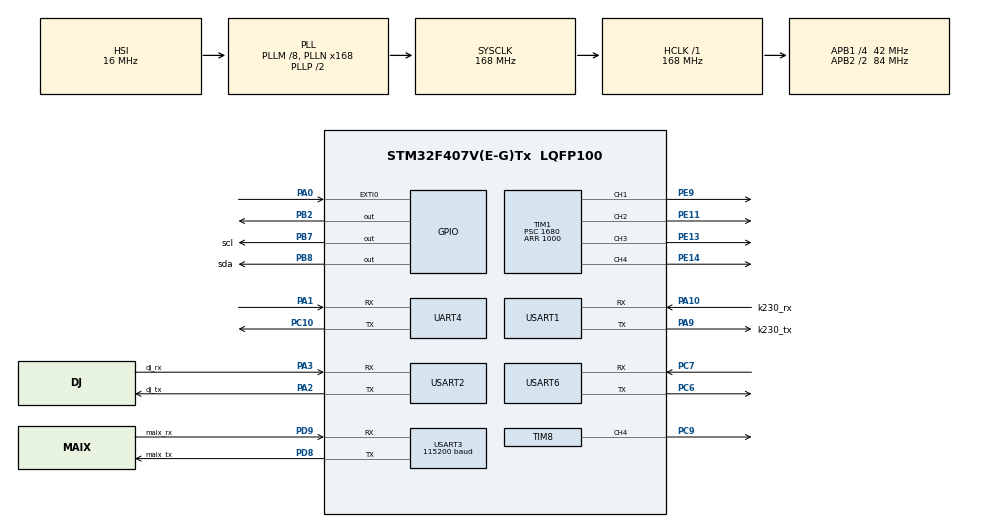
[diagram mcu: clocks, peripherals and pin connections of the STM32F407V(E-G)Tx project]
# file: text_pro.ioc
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Dma.Request0=USART3_RX
Dma.Request1=USART3_TX
Dma.Request2=USART1_RX
Dma.Request3=USART1_TX
Dma.Request4=USART2_RX
Dma.Request5=USART2_TX
Dma.Request6=USART6_RX
Dma.Request7=USART6_TX
Dma.USART1_RX.2.Direction=DMA_PERIPH_TO_MEMORY
Dma.USART1_RX.2.FIFOMode=DMA_FIFOMODE_DISABLE
Dma.USART1_RX.2.Instance=DMA2_Stream2
Dma.USART1_RX.2.MemDataAlignment=DMA_MDATAALIGN_BYTE
Dma.USART1_RX.2.MemInc=DMA_MINC_ENABLE
Dma.USART1_RX.2.Mode=DMA_NORMAL
Dma.USART1_RX.2.PeriphDataAlignment=DMA_PDATAALIGN_BYTE
Dma.USART1_RX.2.PeriphInc=DMA_PINC_DISABLE
Dma.USART1_RX.2.Priority=DMA_PRIORITY_MEDIUM
Dma.USART1_TX.3.Direction=DMA_MEMORY_TO_PERIPH
Dma.USART1_TX.3.FIFOMode=DMA_FIFOMODE_DISABLE
Dma.USART1_TX.3.Instance=DMA2_Stream7
Dma.USART1_TX.3.MemDataAlignment=DMA_MDATAALIGN_BYTE
Dma.USART1_TX.3.MemInc=DMA_MINC_ENABLE
Dma.USART1_TX.3.Mode=DMA_NORMAL
Dma.USART1_TX.3.PeriphDataAlignment=DMA_PDATAALIGN_BYTE
Dma.USART1_TX.3.PeriphInc=DMA_PINC_DISABLE
Dma.USART1_TX.3.Priority=DMA_PRIORITY_MEDIUM
Dma.USART2_RX.4.Direction=DMA_PERIPH_TO_MEMORY
Dma.USART2_RX.4.FIFOMode=DMA_FIFOMODE_DISABLE
Dma.USART2_RX.4.Instance=DMA1_Stream5
Dma.USART2_RX.4.MemDataAlignment=DMA_MDATAALIGN_BYTE
Dma.USART2_RX.4.MemInc=DMA_MINC_ENABLE
Dma.USART2_RX.4.Mode=DMA_NORMAL
Dma.USART2_RX.4.PeriphDataAlignment=DMA_PDATAALIGN_BYTE
Dma.USART2_RX.4.PeriphInc=DMA_PINC_DISABLE
Dma.USART2_RX.4.Priority=DMA_PRIORITY_MEDIUM
Dma.USART2_TX.5.Direction=DMA_MEMORY_TO_PERIPH
Dma.USART2_TX.5.FIFOMode=DMA_FIFOMODE_DISABLE
Dma.USART2_TX.5.Instance=DMA1_Stream6
Dma.USART2_TX.5.MemDataAlignment=DMA_MDATAALIGN_BYTE
Dma.USART2_TX.5.MemInc=DMA_MINC_ENABLE
Dma.USART2_TX.5.Mode=DMA_NORMAL
Dma.USART2_TX.5.PeriphDataAlignment=DMA_PDATAALIGN_BYTE
Dma.USART2_TX.5.PeriphInc=DMA_PINC_DISABLE
Dma.USART2_TX.5.Priority=DMA_PRIORITY_MEDIUM
Dma.USART3_RX.0.Direction=DMA_PERIPH_TO_MEMORY
Dma.USART3_RX.0.FIFOMode=DMA_FIFOMODE_DISABLE
Dma.USART3_RX.0.Instance=DMA1_Stream1
Dma.USART3_RX.0.MemDataAlignment=DMA_MDATAALIGN_BYTE
Dma.USART3_RX.0.MemInc=DMA_MINC_ENABLE
Dma.USART3_RX.0.Mode=DMA_NORMAL
Dma.USART3_RX.0.PeriphDataAlignment=DMA_PDATAALIGN_BYTE
Dma.USART3_RX.0.PeriphInc=DMA_PINC_DISABLE
Dma.USART3_RX.0.Priority=DMA_PRIORITY_MEDIUM
Dma.USART3_TX.1.Direction=DMA_MEMORY_TO_PERIPH
Dma.USART3_TX.1.FIFOMode=DMA_FIFOMODE_DISABLE
Dma.USART3_TX.1.Instance=DMA1_Stream3
Dma.USART3_TX.1.MemDataAlignment=DMA_MDATAALIGN_BYTE
Dma.USART3_TX.1.MemInc=DMA_MINC_ENABLE
Dma.USART3_TX.1.Mode=DMA_NORMAL
Dma.USART3_TX.1.PeriphDataAlignment=DMA_PDATAALIGN_BYTE
Dma.USART3_TX.1.PeriphInc=DMA_PINC_DISABLE
Dma.USART3_TX.1.Priority=DMA_PRIORITY_MEDIUM
Dma.USART6_RX.6.Direction=DMA_PERIPH_TO_MEMORY
Dma.USART6_RX.6.FIFOMode=DMA_FIFOMODE_DISABLE
Dma.USART6_RX.6.Instance=DMA2_Stream1
Dma.USART6_RX.6.MemDataAlignment=DMA_MDATAALIGN_BYTE
Dma.USART6_RX.6.MemInc=DMA_MINC_ENABLE
Dma.USART6_RX.6.Mode=DMA_NORMAL
Dma.USART6_RX.6.PeriphDataAlignment=DMA_PDATAALIGN_BYTE
Dma.USART6_RX.6.PeriphInc=DMA_PINC_DISABLE
Dma.USART6_RX.6.Priority=DMA_PRIORITY_MEDIUM
Dma.USART6_TX.7.Direction=DMA_MEMORY_TO_PERIPH
Dma.USART6_TX.7.FIFOMode=DMA_FIFOMODE_DISABLE
Dma.USART6_TX.7.Instance=DMA2_Stream6
Dma.USART6_TX.7.MemDataAlignment=DMA_MDATAALIGN_BYTE
Dma.USART6_TX.7.MemInc=DMA_MINC_ENABLE
Dma.USART6_TX.7.Mode=DMA_NORMAL
Dma.USART6_TX.7.PeriphDataAlignment=DMA_PDATAALIGN_BYTE
Dma.USART6_TX.7.PeriphInc=DMA_PINC_DISABLE
Dma.USART6_TX.7.Priority=DMA_PRIORITY_MEDIUM
Mcu.Family=STM32F4
Mcu.Name=STM32F407V(E-G)Tx
Mcu.Package=LQFP100
NVIC.DMA1_Stream1_IRQn=true\:1\:0\:true\:false\:true\:true\:true\:true
NVIC.DMA1_Stream3_IRQn=true\:1\:0\:true\:false\:true\:true\:true\:true
NVIC.DMA1_Stream5_IRQn=true\:0\:0\:true\:false\:true\:true\:true\:true
NVIC.DMA1_Stream6_IRQn=true\:0\:0\:true\:false\:true\:true\:true\:true
NVIC.DMA2_Stream1_IRQn=true\:2\:0\:true\:false\:true\:true\:true\:true
NVIC.DMA2_Stream2_IRQn=true\:0\:0\:false\:false\:true\:true\:true\:true
NVIC.DMA2_Stream6_IRQn=true\:2\:0\:true\:false\:true\:true\:true\:true
NVIC.DMA2_Stream7_IRQn=true\:0\:0\:false\:false\:true\:true\:true\:true
NVIC.EXTI0_IRQn=true\:0\:0\:false\:false\:true\:true\:true\:true
NVIC.PriorityGroup=NVIC_PRIORITYGROUP_4
NVIC.TIM3_IRQn=true\:4\:0\:true\:false\:true\:true\:true\:true
NVIC.UART4_IRQn=true\:3\:0\:true\:false\:true\:true\:true\:true
NVIC.USART1_IRQn=true\:0\:0\:true\:false\:true\:true\:true\:true
NVIC.USART2_IRQn=true\:0\:0\:true\:false\:true\:true\:true\:true
NVIC.USART3_IRQn=true\:0\:0\:true\:false\:true\:true\:true\:true
NVIC.USART6_IRQn=true\:2\:0\:true\:false\:true\:true\:true\:true
PA0-WKUP.GPIO_ModeDefaultEXTI=GPIO_MODE_IT_RISING
PA0-WKUP.Signal=GPXTI0
PA1.Mode=Asynchronous
PA1.Signal=UART4_RX
PA10.GPIO_Label=k230_rx
PA10.Mode=Asynchronous
PA10.Signal=USART1_RX
PA13.Mode=Serial_Wire
PA13.Signal=SYS_JTMS-SWDIO
PA14.Mode=Serial_Wire
PA14.Signal=SYS_JTCK-SWCLK
PA2.GPIO_Label=dj_tx
PA2.Mode=Asynchronous
PA2.Signal=USART2_TX
PA3.GPIO_Label=dj_rx
PA3.Mode=Asynchronous
PA3.Signal=USART2_RX
PA9.GPIO_Label=k230_tx
PA9.Mode=Asynchronous
PA9.Signal=USART1_TX
PB2.GPIO_Speed=GPIO_SPEED_FREQ_VERY_HIGH
PB2.Signal=GPIO_Output
PB7.GPIO_Label=scl
PB7.GPIO_ModeDefaultOutputPP=GPIO_MODE_OUTPUT_OD
PB7.GPIO_PuPd=GPIO_NOPULL
PB7.GPIO_Speed=GPIO_SPEED_FREQ_HIGH
PB7.PinState=GPIO_PIN_SET
PB7.Signal=GPIO_Output
PB8.GPIO_Label=sda
PB8.GPIO_ModeDefaultOutputPP=GPIO_MODE_OUTPUT_OD
PB8.GPIO_PuPd=GPIO_NOPULL
PB8.GPIO_Speed=GPIO_SPEED_FREQ_HIGH
PB8.PinState=GPIO_PIN_SET
PB8.Signal=GPIO_Output
PC10.Mode=Asynchronous
PC10.Signal=UART4_TX
PC14-OSC32_IN.Mode=LSE-External-Oscillator
PC14-OSC32_IN.Signal=RCC_OSC32_IN
PC15-OSC32_OUT.Mode=LSE-External-Oscillator
PC15-OSC32_OUT.Signal=RCC_OSC32_OUT
PC6.Mode=Asynchronous
PC6.Signal=USART6_TX
PC7.Mode=Asynchronous
PC7.Signal=USART6_RX
PC9.Signal=S_TIM8_CH4
PD8.GPIO_Label=maix_tx
PD8.GPIO_PuPd=GPIO_PULLUP
PD8.GPIO_Speed=GPIO_SPEED_FREQ_VERY_HIGH
PD8.Mode=Asynchronous
PD8.Signal=USART3_TX
PD9.GPIO_Label=maix_rx
PD9.GPIO_PuPd=GPIO_PULLUP
PD9.GPIO_Speed=GPIO_SPEED_FREQ_VERY_HIGH
PD9.Mode=Asynchronous
PD9.Signal=USART3_RX
PE11.GPIO_ModeDefaultPP=GPIO_MODE_AF_PP
PE11.GPIO_Speed=GPIO_SPEED_FREQ_VERY_HIGH
PE11.Signal=S_TIM1_CH2
PE13.GPIO_Speed=GPIO_SPEED_FREQ_VERY_HIGH
PE13.Signal=S_TIM1_CH3
PE14.GPIO_Speed=GPIO_SPEED_FREQ_VERY_HIGH
PE14.Signal=S_TIM1_CH4
PE9.GPIO_Speed=GPIO_SPEED_FREQ_VERY_HIGH
PE9.Signal=S_TIM1_CH1
PH0-OSC_IN.Mode=HSE-External-Oscillator
PH0-OSC_IN.Signal=RCC_OSC_IN
PH1-OSC_OUT.Mode=HSE-External-Oscillator
PH1-OSC_OUT.Signal=RCC_OSC_OUT
ProjectManager.HeapSize=0x200
ProjectManager.StackSize=0x400
ProjectManager.TargetToolchain=MDK-ARM V5.32
RCC.48MHZClocksFreq_Value=84000000
RCC.AHBFreq_Value=168000000
RCC.APB1CLKDivider=RCC_HCLK_DIV4
RCC.APB1Freq_Value=42000000
RCC.APB1TimFreq_Value=84000000
RCC.APB2CLKDivider=RCC_HCLK_DIV2
RCC.APB2Freq_Value=84000000
RCC.APB2TimFreq_Value=168000000
RCC.CortexFreq_Value=168000000
RCC.HCLKFreq_Value=168000000
RCC.HSE_VALUE=25000000
RCC.HSI_VALUE=16000000
RCC.PLLM=8
RCC.PLLN=168
RCC.SYSCLKFreq_VALUE=168000000
RCC.SYSCLKSource=RCC_SYSCLKSOURCE_PLLCLK
RCC.VCOOutputFreq_Value=336000000
SH.S_TIM1_CH1.0=TIM1_CH1,PWM Generation1 CH1
SH.S_TIM1_CH2.0=TIM1_CH2,PWM Generation2 CH2
SH.S_TIM1_CH3.0=TIM1_CH3,PWM Generation3 CH3
SH.S_TIM1_CH4.0=TIM1_CH4,PWM Generation4 CH4
SH.S_TIM8_CH4.0=TIM8_CH4,PWM Generation4 CH4
TIM1.Channel-PWM\ Generation1\ CH1=TIM_CHANNEL_1
TIM1.Channel-PWM\ Generation2\ CH2=TIM_CHANNEL_2
TIM1.Channel-PWM\ Generation3\ CH3=TIM_CHANNEL_3
TIM1.Channel-PWM\ Generation4\ CH4=TIM_CHANNEL_4
TIM1.Period=1000
TIM1.Prescaler=1680
TIM3.AutoReloadPreload=TIM_AUTORELOAD_PRELOAD_ENABLE
TIM3.Period=10000
TIM3.Prescaler=167
TIM4.AutoReloadPreload=TIM_AUTORELOAD_PRELOAD_ENABLE
TIM4.Period=30000
TIM4.Prescaler=167
TIM8.Channel-PWM\ Generation4\ CH4=TIM_CHANNEL_4
TIM8.Period=1000
TIM8.Prescaler=1680
UART4.VirtualMode=Asynchronous
USART1.VirtualMode=VM_ASYNC
USART2.VirtualMode=VM_ASYNC
USART3.BaudRate=115200
USART3.VirtualMode=VM_ASYNC
USART6.VirtualMode=VM_ASYNC
VP_TIM1_VS_ClockSourceINT.Mode=Internal
VP_TIM3_VS_ClockSourceINT.Mode=Internal
VP_TIM4_VS_ClockSourceINT.Mode=Internal
VP_TIM8_VS_ClockSourceINT.Mode=Internal
board=custom

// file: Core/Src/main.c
/* USER CODE BEGIN Header */
/**
  ******************************************************************************
  * @file           : main.c
  * @brief          : Main program body
  ******************************************************************************
  * @attention
  *
  * Copyright (c) 2024 STMicroelectronics.
  * All rights reserved.
  *
  * This software is licensed under terms that can be found in the LICENSE file
  * in the root directory of this software component.
  * If no LICENSE file comes with this software, it is provided AS-IS.
  *
  ******************************************************************************
  */
/* USER CODE END Header */
#include "main.h"
#include "dma.h"
#include "tim.h"
#include "usart.h"
#include "gpio.h"

/* USER CODE BEGIN Includes */
#include "string.h"
#include "Key.h"

/* USER CODE END Includes */

/* USER CODE BEGIN PTD */
uint8_t RXDATA=0,RXDATA1=0,rx[11]={0},cq[5]={0xFF,0xAA,0x76,0x00,0x00},cntt=0,test_data,test_cnt=0,test_num[8]=" ",cq1[5]={0xFF,0xAA,0x69,0x88,0xB5},cq3[5]={0xFF,0xAA,0x00,0x00,0x00};
double yaw=0;
int Flag = 0, ffff = 0;
int16_t Speed1=0,Speed2=0,Speed3=0,Speed4=0;
int16_t Base_speed1=0,Base_speed2=0,Base_speed3=0,Base_speed4=0;
/* USER CODE END PTD */

/* USER CODE BEGIN PD */

uint8_t unlock_register[] = {0xFF, 0xAA, 0x69, 0x88, 0xB5};
uint8_t reset_z_axis[] = {0xFF, 0xAA, 0x76, 0x00, 0x00};
uint8_t set_output_200Hz[] = {0xFF, 0xAA, 0x03, 0x0B, 0x00};
uint8_t set_baudrate_115200[] = {0xFF, 0xAA, 0x04, 0x06, 0x00};
uint8_t save_settings[] = {0xFF, 0xAA, 0x00, 0x00, 0x00};
uint8_t restart_device[] = {0xFF, 0xAA, 0x00, 0xFF, 0x00};

/* USER CODE END PD */

/* USER CODE BEGIN PM */
uint8_t Rx_String[100];
uint8_t Rx_Flag=0;
uint8_t Rx_buff,rx_buff = 0;
int a = 0,b = 0;
float x = 0,y = 0;
double xielv = 0;
__IO bool rxFrameFlag = 0;
__IO uint8_t dj_rxCmd[128];
uint8_t maix_rxCmd[128];
uint8_t k230_rxCmd[128];
uint8_t BUFF[128];
uint8_t xz[128];
__IO uint8_t rxCount = 8;
int my_tmp = 0;
/* USER CODE END PM */

void SystemClock_Config(void);
/* USER CODE BEGIN PFP */
void HAL_GPIO_EXTI_Callback(uint16_t GPIO_Pin)
{
	if(GPIO_Pin==GPIO_PIN_0)
	{
		HAL_GPIO_WritePin(GPIOB,GPIO_PIN_2,GPIO_PIN_SET);
    ffff = 1;
	}

}

void HAL_UART_RxCpltCallback(UART_HandleTypeDef *huart)
{
  if(huart == &huart1)
  {
		if(Rx_String[Rx_Flag-1] == 0x0A)
		{
			//HAL_UART_Transmit(&huart1, (uint8_t *)&Rx_String, Rx_Flag,0xFFFF);
			//while(HAL_UART_GetState(&huart1) == HAL_UART_STATE_BUSY_TX);
      sscanf((const char * )Rx_String, "%d+%d", &a,&b);
			memset(Rx_String,0x00,sizeof(Rx_buff));
			Rx_Flag = 0;
		}
    HAL_UART_Receive_IT(&huart1, (uint8_t *)&Rx_buff, 1);
  }

  if(huart->Instance==UART4)
  {
    static uint8_t i=0;
    rx[i]=RXDATA;
    if(rx[0]==0x55)
    {

      i+=1;
      if(i==11)
      {
        if(rx[1]==0x53)
        {
          if(rx[10]==(rx[0]+rx[1]+rx[2]+rx[3]+rx[4]+rx[5]+rx[6]+rx[7]+rx[8]+rx[9])%256)
          {
            yaw=(float)((short)((short)rx[7]*256+rx[6]))/32768*180;
            if(((int)(yaw*1000))%10>=5)
            {
              yaw=(double)((int)(yaw*100+1))/100;
            }
            else
            {
              yaw=(double)((int)(yaw*100))/100;
            }

          }
        }
        i=0;
      }
    }

    HAL_UART_Receive_IT(&huart4,&RXDATA,1);
  }
}

void HAL_UARTEx_RxEventCallback(UART_HandleTypeDef *huart, uint16_t Size)
{
  if(huart->Instance==USART1)
	{
    if(BUFF[0] != 'K')
		{

      memcpy(k230_rxCmd, BUFF, sizeof(BUFF));
      sscanf((const char * )k230_rxCmd, "%d+%d", &a,&b);
      memset(BUFF, 0x00, sizeof(BUFF));
      HAL_UARTEx_ReceiveToIdle_DMA(&huart1,(uint8_t*)BUFF,128);
      //__HAL_DMA_DISABLE_IT(&hdma_usart1_rx,DMA_IT_HT);
		}
	}

	if(huart->Instance==USART2)
	{
    rxFrameFlag = 1;
		HAL_UARTEx_ReceiveToIdle_DMA(&huart2,(uint8_t*)dj_rxCmd,128);
	}

  if(huart->Instance==USART6)
	{
    rxFrameFlag = 1;
		HAL_UARTEx_ReceiveToIdle_DMA(&huart6,(uint8_t*)xz,128);
	}

  if(huart->Instance==USART3)
	{

    if(maix_rxCmd[0] == 'M')
		{
      sscanf((const char * )&maix_rxCmd[1], "%f+%f", &x,&y);
      // x = (int)xx;
      // y = (int)yy;
      HAL_UARTEx_ReceiveToIdle_DMA(&huart3,(uint8_t*)maix_rxCmd,128);
		}
	}
}
/* USER CODE END PFP */

/* USER CODE BEGIN 0 */

void TBQD()
{
 Emm_V5_Synchronous_motion(0);
while(rxFrameFlag == false); rxFrameFlag = false;
}

void Go(int dir, int vel, int acc)
{
  HAL_TIM_Base_Stop_IT(&htim3);
  if(dir == 1)
  {
    Emm_V5_Vel_Control(1,1,vel,acc,1);
    while(rxFrameFlag == false); rxFrameFlag = false;
    Emm_V5_Vel_Control(3,1,vel,acc,1);
    while(rxFrameFlag == false); rxFrameFlag = false;
    Emm_V5_Vel_Control(2,0,vel,acc,1);
    while(rxFrameFlag == false); rxFrameFlag = false;
    Emm_V5_Vel_Control(4,0,vel,acc,1);
    while(rxFrameFlag == false); rxFrameFlag = false;
    TBQD();
    delay_ms(300);
  }
  if(dir == 0)
  {
    Emm_V5_Vel_Control(1,0,vel,acc,1);
    while(rxFrameFlag == false); rxFrameFlag = false;
    Emm_V5_Vel_Control(3,0,vel,acc,1);
    while(rxFrameFlag == false); rxFrameFlag = false;
    Emm_V5_Vel_Control(2,1,vel,acc,1);
    while(rxFrameFlag == false); rxFrameFlag = false;
    Emm_V5_Vel_Control(4,1,vel,acc,1);
    while(rxFrameFlag == false); rxFrameFlag = false;
    TBQD();
    delay_ms(300);
  }
  __HAL_TIM_CLEAR_IT(&htim3, TIM_IT_UPDATE);
  HAL_TIM_Base_Start_IT(&htim3);
}

void Stop(int acc)
{
  HAL_TIM_Base_Stop_IT(&htim3);
  Emm_V5_Vel_Control(1,1,0,acc,1);
  while(rxFrameFlag == false); rxFrameFlag = false;
  Emm_V5_Vel_Control(3,1,0,acc,1);
  while(rxFrameFlag == false); rxFrameFlag = false;
  Emm_V5_Vel_Control(2,0,0,acc,1);
  while(rxFrameFlag == false); rxFrameFlag = false;
  Emm_V5_Vel_Control(4,0,0,acc,1);
  while(rxFrameFlag == false); rxFrameFlag = false;
  TBQD();
  delay_ms(700);
  __HAL_TIM_CLEAR_IT(&htim3, TIM_IT_UPDATE);
  HAL_TIM_Base_Start_IT(&htim3);
}

void Stop1(int acc)
{
  __HAL_TIM_CLEAR_IT(&htim3, TIM_IT_UPDATE);
  HAL_TIM_Base_Stop_IT(&htim3);
  Emm_V5_Vel_Control(1,1,0,acc,1);
  while(rxFrameFlag == false); rxFrameFlag = false;
  Emm_V5_Vel_Control(3,1,0,acc,1);
  while(rxFrameFlag == false); rxFrameFlag = false;
  Emm_V5_Vel_Control(2,0,0,acc,1);
  while(rxFrameFlag == false); rxFrameFlag = false;
  Emm_V5_Vel_Control(4,0,0,acc,1);
  while(rxFrameFlag == false); rxFrameFlag = false;
  TBQD();

}

void Set_Speed(uint8_t adr,int16_t speed)
{
  if(adr%2!=0)
  {
     if(speed>=0)
    {
      Emm_V5_Vel_Control(adr,1,speed,0,0);
      while(rxFrameFlag == false); rxFrameFlag = false;
    }
    else if(speed<0)
    {
      Emm_V5_Vel_Control(adr,0,-speed,0,0);
      while(rxFrameFlag == false); rxFrameFlag = false;
    }
  }
  else if(adr%2==0)
  {
     if(speed>=0)
    {
      Emm_V5_Vel_Control(adr,0,speed,0,0);
      while(rxFrameFlag == false); rxFrameFlag = false;
    }
    else if(speed<0)
    {
      Emm_V5_Vel_Control(adr,1,-speed,0,0);
      while(rxFrameFlag == false); rxFrameFlag = false;
    }
  }

  //delay_ms(10);
}

int i = 0;
int cmd[3] = {0};
int find_x(int x1, int v, int err, int xzb)
{
    int tmp ;
    tmp = x1;

    if(i > 2)
    {
        cmd[0] = cmd[1];
        cmd[1] = cmd[2];
        cmd[2] = tmp;
        tmp = (cmd[0] + cmd[1] + cmd[2])/3 ;
    }
    else
    {

        cmd[i] = tmp;
        tmp = (cmd[0] + cmd[1] + cmd[2]) / (i + 1);
    }
    i++;
    // OLED_ShowNum_double(0, 0,  tmp, &font12x12, OLED_COLOR_NORMAL);
    // OLED_ShowFrame();
    tmp = tmp - 159;
    //delay_ms(5);
    if (tmp < err && tmp > -err)
    {
        /* code */
      Base_speed1=Base_speed4=0;
      Base_speed2=Base_speed3=0;
      delay_ms(200);
      i = 0;
      memset(cmd,0,sizeof(cmd));
      return 1;
    }

    else if (tmp >= err)
    {
      Base_speed1=Base_speed4=-v;
      Base_speed2=Base_speed3=-v;

    }
    else if (tmp <= -err)
    {
     Base_speed1=Base_speed4=v;
     Base_speed2=Base_speed3=v;
    }

    return 0;
}

int find_y(int y1, int v, int err, int yzb)
{
    int tmp = 0;
    tmp = y1;

    if(i > 2)
    {
        cmd[0] = cmd[1];
        cmd[1] = cmd[2];
        cmd[2] = tmp;
        tmp = (cmd[0] + cmd[1] + cmd[2])/3 ;
    }
    else
    {
        cmd[i] = tmp;
        tmp = (cmd[0] + cmd[1] + cmd[2]) / (i + 1);
    }
    i++;
    // OLED_ShowNum_double(0, 20,  tmp, &font12x12, OLED_COLOR_NORMAL);
    // OLED_ShowFrame();
    tmp = tmp - 106;
    //delay_ms(5);
    if (tmp < err && tmp > -err)
    {
        /* code */
        Base_speed1=Base_speed4=0;
        Base_speed2=Base_speed3=0;
        delay_ms(200);
        i = 0;
        memset(cmd,0,sizeof(cmd));
        return 1;
    }

    else if (tmp >= err)
    {
      Base_speed1=Base_speed4=v;
      Base_speed2=Base_speed3=-v;

    }
    else if (tmp <= -err)
    {
      Base_speed1=Base_speed4=-v;
      Base_speed2=Base_speed3=v;

    }

    return 0;
}

void color(uint8_t color, int v, int err, int xzb, int yzb)
{
    x = 0; y = 0;
    // __HAL_TIM_CLEAR_IT(&htim3, TIM_IT_UPDATE);
    // HAL_TIM_Base_Start_IT(&htim3);
    HAL_UART_Transmit(&huart3, &color, 1, HAL_MAX_DELAY);
    x = 0;
    delay_ms(20);
    while (1)
    {
      //delay_ms(10);
        if (x != 0)
        {//a ==1;
          if(find_x(x, v, err, xzb) == 1)
          {
            x = 0;
            break;
          }
        }

    }
    y = 0;
    delay_ms(20);
    while (1)
    {
      //delay_ms(10);
      if (y != 0)
      {
        if(find_y(y, v, err, yzb) == 1)
        {
            y = 0;
            break;
        }
      }
    }
    Base_speed1=Base_speed4=0;
    Base_speed2=Base_speed3=0;
    HAL_UART_Transmit(&huart3, "a", 1, HAL_MAX_DELAY);
    delay_ms(100);

}

int P_flag = 0;
int find_pan(int x1, int zaiwu, uint8_t color)
{

  if (P_flag == 0)
  {
    HAL_UART_Transmit(&huart3, &color, 1, HAL_MAX_DELAY);
    P_flag = 1;
  }
  x1 = x1 - 160;
  if (x1 < 20 && x1 > -20)
  {
    HAL_UART_Transmit(&huart3, "a", 1, HAL_MAX_DELAY);
    zhua_pan(zaiwu);
    P_flag = 0;
    x1 = 0;
    x = 0;
    return 1;
  }
  return 0;
}
void shunxu(int num)
{
  // __HAL_TIM_SetCompare(&htim8, TIM_CHANNEL_4, 1000);
  // delay_ms(300);
  __HAL_TIM_CLEAR_IT(&htim3, TIM_IT_UPDATE);
  HAL_TIM_Base_Stop_IT(&htim3);
  delay_ms(10);
  Stop1(0);
  shengjiang(0, jiang_zhao);
  //delay_ms(700);
  x = 0;
  y = 0;
  //delay_ms(100);
  if (num == 123)
  {
    //Go(1, 70, 0);
    while (1)
    {
      delay_ms(20);
      if (find_pan(x, 1, 'r') == 1)
      {
        break;
      }
    }
    while (1)
    {
      delay_ms(20);
      if (find_pan(x, 2, 'g') == 1)
      {
        break;
      }
    }
    while (1)
    {
      delay_ms(20);
      if (find_pan(x, 3, 'b') == 1)
      {
        break;
      }
    }

  }
  if (num == 132)
  {
    while (1)
    {
      delay_ms(20);
      if (find_pan(x, 1, 'r') == 1)
      {
        break;
      }
    }
    while (1)
    {
      delay_ms(20);
      if (find_pan(x, 2, 'b') == 1)
      {
        break;
      }
    }
    while (1)
    {
      delay_ms(20);
      if (find_pan(x, 3, 'g') == 1)
      {
        break;
      }
    }
  }
  if (num == 213)
  {
    while (1)
    {
      delay_ms(20);
      if (find_pan(x, 1, 'g') == 1)
      {
        break;
      }
    }
    while (1)
    {
      delay_ms(20);
      if (find_pan(x, 2, 'r') == 1)
      {
        break;
      }
    }
    while (1)
    {
      delay_ms(20);
      if (find_pan(x, 3, 'b') == 1)
      {
        break;
      }
    }
  }
  if (num == 231)
  {
    while (1)
    {
      delay_ms(20);
      if (find_pan(x, 1, 'g') == 1)
      {
        break;
      }
    }
    while (1)
    {
      delay_ms(20);
      if (find_pan(x, 2, 'b') == 1)
      {
        break;
      }
    }
    while (1)
    {
      delay_ms(20);
      if (find_pan(x, 3, 'r') == 1)
      {
        break;
      }
    }
  }
  if (num == 321)
  {
    while (1)
    {
      delay_ms(20);
      if (find_pan(x, 1, 'b') == 1)
      {
        break;
      }
    }
    while (1)
    {
      delay_ms(20);
      if (find_pan(x, 2, 'g') == 1)
      {
        break;
      }
    }
    while (1)
    {
      delay_ms(20);
      if (find_pan(x, 3, 'r') == 1)
      {
        break;
      }
    }
  }
  if (num == 312)
  {
    while (1)
    {
      delay_ms(20);
      if (find_pan(x, 1, 'b') == 1)
      {
        break;
      }
    }
    while (1)
    {
      delay_ms(20);
      if (find_pan(x, 2, 'r') == 1)
      {
        break;
      }
    }
    while (1)
    {
      delay_ms(20);
      if (find_pan(x, 3, 'g') == 1)
      {
        break;
      }
    }
  }
  //__HAL_TIM_SetCompare(&htim8, TIM_CHANNEL_4, 0);
  __HAL_TIM_CLEAR_IT(&htim3, TIM_IT_UPDATE);
  HAL_TIM_Base_Start_IT(&htim3);

}

void HAL_TIM_PeriodElapsedCallback(TIM_HandleTypeDef *htim)
{

   if(htim->Instance==TIM3)
  {

    if(Flag==1)
    {
      Speed2=Speed4=Right(0,yaw,Speed1);
      Speed1=Speed3=Left(0,yaw,Speed2);
      Set_Speed(1,Speed1+Base_speed1);
      Set_Speed(2,Speed2+Base_speed2);
      Set_Speed(3,Speed3+Base_speed3);
      Set_Speed(4,Speed4+Base_speed4);
      //TBQD();
    }
    else if(Flag==2)
    {
      Speed2=Speed4=Right(90,yaw,Speed1);
      Speed1=Speed3=Left(90,yaw,Speed2);
      Set_Speed(1,Speed1+Base_speed1);
      Set_Speed(2,Speed2+Base_speed2);
      Set_Speed(3,Speed3+Base_speed3);
      Set_Speed(4,Speed4+Base_speed4);
      //TBQD();
    }
    else if(Flag==4)
    {
      Speed2=Speed4=Right(-90,yaw,Speed1);
      Speed1=Speed3=Left(-90,yaw,Speed2);
      Set_Speed(1,Speed1+Base_speed1);
      Set_Speed(2,Speed2+Base_speed2);
      Set_Speed(3,Speed3+Base_speed3);
      Set_Speed(4,Speed4+Base_speed4);
      //TBQD();
    }
  }
}
/* USER CODE END 0 */

int main(void)
{

  /* MCU Configuration--------------------------------------------------------*/

  /* Reset of all peripherals, Initializes the Flash interface and the Systick. */
  HAL_Init();

  /* Configure the system clock */
  SystemClock_Config();

  /* Initialize all configured peripherals */
  MX_GPIO_Init();
  MX_DMA_Init();
  MX_USART1_UART_Init();
  MX_USART2_UART_Init();
  MX_USART3_UART_Init();
  MX_TIM1_Init();
  MX_USART6_UART_Init();
  MX_UART4_Init();
  MX_TIM3_Init();
  MX_TIM4_Init();
  MX_TIM8_Init();
  /* USER CODE BEGIN 2 */

  OLED_Init();
  HAL_UARTEx_ReceiveToIdle_DMA(&huart1, (uint8_t *)BUFF, 128);   //k230
 // __HAL_DMA_DISABLE_IT(&hdma_usart1_rx,DMA_IT_HT);
  HAL_UARTEx_ReceiveToIdle_DMA(&huart2, (uint8_t *)dj_rxCmd, 128);
  HAL_UARTEx_ReceiveToIdle_DMA(&huart3, (uint8_t *)maix_rxCmd, 128);
  HAL_UARTEx_ReceiveToIdle_DMA(&huart6, (uint8_t *)xz, 128);
  HAL_UART_Receive_IT(&huart4, &RXDATA, 1);
  //HAL_TIM_Base_Start_IT(&htim2);

  HAL_UART_Transmit(&huart4, reset_z_axis, 5, 1000);
  delay_ms(2000);
  HAL_TIM_PWM_Start(&htim1, TIM_CHANNEL_1);// pwm
  HAL_TIM_PWM_Start(&htim1, TIM_CHANNEL_2);// pwm
  HAL_TIM_PWM_Start(&htim8, TIM_CHANNEL_4);// pwm
  __HAL_TIM_SetCompare(&htim8, TIM_CHANNEL_4, 0);
  HAL_UART_Transmit(&huart3, "a", 1, HAL_MAX_DELAY);
  shengjiang(0, 0);
  xuanzhuan(1, 0);
  //__HAL_TIM_SetCompare(&htim8, TIM_CHANNEL_4, 1000);
  servo_angle(bi);
  //servo_angle(kai1);
  HAL_TIM_Base_Start_IT(&htim3);
  __HAL_TIM_CLEAR_IT(&htim3, TIM_IT_UPDATE);
  //__HAL_TIM_SetCompare(&htim8, TIM_CHANNEL_4, 1000);
  /* USER CODE END 2 */

  /* Infinite loop */
  /* USER CODE BEGIN WHILE */
tuopan_angle(zhong);
Stop(0);
// shengjiang(0, 0);
// xuanzhuan(1, zhuan_zheng);
// delay_ms(1000);
// servo_angle(bi);
// delay_ms(1000);
// shengjiang(0, jiang_di);
//zhua(1);
// xuanzhuan(1, zhuan_zheng);
// shengjiang(0, jiang_di);;

while (ffff == 0)
{
  delay_ms(10);

}
HAL_UART_Transmit(&huart3, "a", 1, HAL_MAX_DELAY);
delay_ms(100);
HAL_UART_Transmit(&huart4, reset_z_axis, 5, 1000);
delay_ms(200);
servo_angle(kai1);

/***************************************************************************************************************************** */
//chu
  // Base_speed1=Base_speed4=20;
  // Base_speed2=Base_speed3=-20;
  // Flag = 1;
  // delay_ms(1100);
  // Base_speed1=Base_speed4=0;
  // Base_speed2=Base_speed3=0;
  // delay_ms(200);

  //ma
  Go(1, 200, 230);
  Base_speed1=Base_speed4=200;
  Base_speed2=Base_speed3=200;
  Flag= 1;
  delay_ms(670);

  Stop(230);
  Base_speed1=Base_speed4=0;
  Base_speed2=Base_speed3=0;
  Flag = 1;
  delay_ms(200);

// fang dang huang xian
  Base_speed1=Base_speed4=40;
  Base_speed2=Base_speed3=-40;
  Flag = 1;
  delay_ms(550);
  Base_speed1=Base_speed4=0;
  Base_speed2=Base_speed3=0;
  delay_ms(100);

  __HAL_TIM_CLEAR_IT(&htim3, TIM_IT_UPDATE);
  HAL_TIM_Base_Stop_IT(&htim3);
  delay_ms(10);
  Stop1(0);
  xuanzhuan(1, zhuan_zheng);
  //sao ma
  while(1)
  {
    delay_ms(100);
    if (a != 0)
    {
      // OLED_Init();
      // OLED_ShowNum(0, 0, a, 4, OLED_8X16);
      // OLED_ShowNum(0, 20, b, 4, OLED_8X16);
      // OLED_Update();
      break;
    }

  }
  // a = 231;
  // b = 123;
  HAL_TIM_Base_Start_IT(&htim3);

  //qu zhuan pan
  Go(1, 200, 230);
  Base_speed1=Base_speed4=200;
  Base_speed2=Base_speed3=200;
  Flag= 1;
  delay_ms(570);
  Stop(230);
  Base_speed1=Base_speed4=0;
  Base_speed2=Base_speed3=0;
  Flag = 1;
  delay_ms(100);

  // cou jin zhuan pan
  Base_speed1=Base_speed4=-40;
  Base_speed2=Base_speed3=40;
  Flag = 1;
  delay_ms(400);
  Base_speed1=Base_speed4=0;
  Base_speed2=Base_speed3=0;
  delay_ms(100);

  // __HAL_TIM_CLEAR_IT(&htim3, TIM_IT_UPDATE);
  // HAL_TIM_Base_Stop_IT(&htim3);
  // Stop1(0);

  shunxu(a);
  //delay_ms(1500);

  // yan li zhuan pan
  Base_speed1=Base_speed4=40;
  Base_speed2=Base_speed3=-40;
  Flag = 1;
  delay_ms(400);
  Base_speed1=Base_speed4=0;
  Base_speed2=Base_speed3=0;
  delay_ms(100);

  //hou tui qu cu jia gong
  Go(0, 200, 230);
  Base_speed1=Base_speed4=-200;
  Base_speed2=Base_speed3=-200;
  Flag= 1;
  delay_ms(240);
  Stop(230);
  Base_speed1=Base_speed4=0;
  Base_speed2=Base_speed3=0;
  Flag = 1;
  delay_ms(100);

  //zuo zhuan qu cu jia gong
  Base_speed1=Base_speed4=0;
  Base_speed2=Base_speed3=0;
  Flag = 2;
  while(yaw<=90)
    {

    }
   delay_ms(100);

   //z zhou qing ling
  HAL_UART_Transmit(&huart4, reset_z_axis, 5, 1000);

  Base_speed1=Base_speed4=0;
  Base_speed2=Base_speed3=0;

  //zhi xing qu cu jia gong
  Go(1, 240, 230);
  Base_speed1=Base_speed4=240;
  Base_speed2=Base_speed3=240;
  Flag = 1;
  delay_ms(1445);
  Stop(230);
  Base_speed1=Base_speed4=0;
  Base_speed2=Base_speed3=0;
   Flag = 1;
  delay_ms(100);

  //zuo zhuan fang cu jia gong
  Base_speed1=Base_speed4=0;
  Base_speed2=Base_speed3=0;
  Flag = 2;
  while(yaw<=90)
    {

    }
   delay_ms(100);

// //you yi dong cou jin
  Base_speed1=Base_speed4=-40;
  Base_speed2=Base_speed3=40;
  Flag = 2;
  delay_ms(370);
  Base_speed1=Base_speed4=0;
  Base_speed2=Base_speed3=0;
  delay_ms(100);
  xingshi(a, 0, 1, 2);

  //delay_ms(200);

  //yi kai yuan li
  Base_speed1=Base_speed4=40;
  Base_speed2=Base_speed3=-40;
  Flag = 2;
  delay_ms(600);
  Base_speed1=Base_speed4=0;
  Base_speed2=Base_speed3=0;
  delay_ms(100);

  //li kai cu jia gong dao guai jiao      hongse
  Go(0, 200, 230);
  Base_speed1=Base_speed4=-200;
  Base_speed2=Base_speed3=-200;
  Flag = 2;
  delay_ms(520);
  Stop(230);
  Base_speed1=Base_speed4=0;
  Base_speed2=Base_speed3=0;
  Flag = 2;
  delay_ms(100);

//   //zhuan xiang qu zan cun qu
  Base_speed1=Base_speed4=0;
  Base_speed2=Base_speed3=0;
  Flag = 1;
  delay_ms(800);

//  //zhi xing qu zan cun qu
  Go(0, 200, 230);
  Base_speed1=Base_speed4=-200;
  Base_speed2=Base_speed3=-200;
  Flag = 1;
  delay_ms(675);
  Stop(230);
  Base_speed1=Base_speed4=0;
  Base_speed2=Base_speed3=0;
  Flag = 1;
  delay_ms(100);

// //cou jin yi dian
  Base_speed1=Base_speed4=-40;
  Base_speed2=Base_speed3=40;
  Flag = 1;
  delay_ms(650);
  Base_speed1=Base_speed4=0;
  Base_speed2=Base_speed3=0;
  delay_ms(100);

  xingshi(a, 0, 0, 1);

// // yuan li
  Base_speed1=Base_speed4=40;
  Base_speed2=Base_speed3=-40;
  Flag = 1;
  delay_ms(600);
  Base_speed1=Base_speed4=0;
  Base_speed2=Base_speed3=0;
  delay_ms(200);

// //dao zhuan pan guai jiao
  Go(0, 200, 230);
  Base_speed1=Base_speed4=-200;
  Base_speed2=Base_speed3=-200;
  Flag = 1;
  delay_ms(620);
  Stop(230);
  Base_speed1=Base_speed4=0;
  Base_speed2=Base_speed3=0;
  Flag = 1;
  delay_ms(100);

 //guai jiao zhuan xiang
  Base_speed1=Base_speed4=0;
  Base_speed2=Base_speed3=0;
  Flag = 4;
  delay_ms(1500);

//  guai jiao zhi xing zhuan pan
  Go(0, 200, 230);
  Base_speed1=Base_speed4=-200;
  Base_speed2=Base_speed3=-200;
  Flag = 4;
  delay_ms(210);
  Stop(230);
  Base_speed1=Base_speed4=0;
  Base_speed2=Base_speed3=0;
  Flag = 4;
  delay_ms(100);

  // cou jin zhuan pan
  Base_speed1=Base_speed4=-40;
  Base_speed2=Base_speed3=40;
  Flag = 4;
  delay_ms(450);
  Base_speed1=Base_speed4=0;
  Base_speed2=Base_speed3=0;
  delay_ms(100);

  // __HAL_TIM_CLEAR_IT(&htim3, TIM_IT_UPDATE);
  // HAL_TIM_Base_Stop_IT(&htim3);
  // Stop1(0);
  shunxu(b);
  //delay_ms(1500);

  // yan li zhuan pan
  Base_speed1=Base_speed4=40;
  Base_speed2=Base_speed3=-40;
  Flag = 4;
  delay_ms(450);
  Base_speed1=Base_speed4=0;
  Base_speed2=Base_speed3=0;
  delay_ms(100);

// //zhuan pan dao zhong jian
  Go(0, 200, 230);
  Base_speed1=Base_speed4=-200;
  Base_speed2=Base_speed3=-200;
  Flag = 4;
  delay_ms(265);
  Stop(230);
  Base_speed1=Base_speed4=0;
  Base_speed2=Base_speed3=0;
  Flag = 4;

// di er ci fang zhi  /################################################################################################################################/
  Base_speed1=Base_speed4=0;
  Base_speed2=Base_speed3=0;
  Flag = 1;
  delay_ms(1500);

  //zhi xing qu cu jia gong
  Go(1, 240, 230);
  Base_speed1=Base_speed4=240;
  Base_speed2=Base_speed3=240;
  Flag = 1;
  delay_ms(1445);
  Stop(230);
  Base_speed1=Base_speed4=0;
  Base_speed2=Base_speed3=0;
   Flag = 1;
  delay_ms(200);

  //zuo zhuan fang cu jia gong
  Base_speed1=Base_speed4=0;
  Base_speed2=Base_speed3=0;
  Flag = 2;
  while(yaw<=90)
    {

    }
   delay_ms(500);

// //you yi dong cou jin
  Base_speed1=Base_speed4=-40;
  Base_speed2=Base_speed3=40;
  Flag = 2;
  delay_ms(260);
  Base_speed1=Base_speed4=0;
  Base_speed2=Base_speed3=0;
  delay_ms(100);
  xingshi(b, 0, 1, 2);

  //yi kai yuan li
  Base_speed1=Base_speed4=40;
  Base_speed2=Base_speed3=-40;
  Flag = 2;
  delay_ms(600);
  Base_speed1=Base_speed4=0;
  Base_speed2=Base_speed3=0;
  delay_ms(100);

  //li kai cu jia gong dao guai jiao      hongse
  Go(0, 200, 230);
  Base_speed1=Base_speed4=-200;
  Base_speed2=Base_speed3=-200;
  Flag = 2;
  delay_ms(520);
  Stop(230);
  Base_speed1=Base_speed4=0;
  Base_speed2=Base_speed3=0;
  Flag = 2;
  delay_ms(100);

//   //zhuan xiang qu zan cun qu
  Base_speed1=Base_speed4=0;
  Base_speed2=Base_speed3=0;
  Flag = 1;
  delay_ms(800);

//  //zhi xing qu zan cun qu
  Go(0, 200, 230);
  Base_speed1=Base_speed4=-200;
  Base_speed2=Base_speed3=-200;
  Flag = 1;
  delay_ms(675);
  Stop(230);
  Base_speed1=Base_speed4=0;
  Base_speed2=Base_speed3=0;
  Flag = 1;
  delay_ms(100);

// //cou jin yi dian
  Base_speed1=Base_speed4=-40;
  Base_speed2=Base_speed3=40;
  Flag = 1;
  delay_ms(775);
  Base_speed1=Base_speed4=0;
  Base_speed2=Base_speed3=0;
  delay_ms(100);

  xingshi(b, 1, 0, 1);
// // yuan li
  Base_speed1=Base_speed4=40;
  Base_speed2=Base_speed3=-40;
  Flag = 1;
  delay_ms(450);
  Base_speed1=Base_speed4=0;
  Base_speed2=Base_speed3=0;
  delay_ms(100);

// //dao zhuan pan guai jiao
  Go(0, 200, 230);
  Base_speed1=Base_speed4=-200;
  Base_speed2=Base_speed3=-200;
  Flag = 1;
  delay_ms(620);
  Stop(230);
  Base_speed1=Base_speed4=0;
  Base_speed2=Base_speed3=0;
  Flag = 1;
  delay_ms(100);

 //guai jiao zhuan xiang
  Base_speed1=Base_speed4=0;
  Base_speed2=Base_speed3=0;
  Flag = 4;
  delay_ms(800);

//hui ku
  Go(0, 150, 230);
  Base_speed1=Base_speed4=-150;
  Base_speed2=Base_speed3=-150;
  Flag = 4;
  delay_ms(2000);
  Stop(100);
  Base_speed1=Base_speed4=0;
  Base_speed2=Base_speed3=0;
  Flag = 4;
  delay_ms(100);
  __HAL_TIM_CLEAR_IT(&htim3, TIM_IT_UPDATE);
  HAL_TIM_Base_Stop_IT(&htim3);
  delay_ms(10);
  Stop1(0);
  xuanzhuan(1, 840);
  HAL_TIM_Base_Start_IT(&htim3);

    //Flag = 4;
    delay_ms(100);
    x = 0;
    HAL_UART_Transmit(&huart3, "y", 1, HAL_MAX_DELAY);
    Base_speed1=Base_speed4=-10;
    Base_speed2=Base_speed3=10;
    Flag = 4;
    delay_ms(20);
    x = 0;
    while (1)
    {
      delay_ms(20);
      if (x != 0)
      {
        while (1)
        {
          delay_ms(20);
          Base_speed1=Base_speed4=-10;
          Base_speed2=Base_speed3=10;
          Flag = 4;
          if (x < 270)
          {
            break;
          }

        }
        Base_speed1=Base_speed4=0;
        Base_speed2=Base_speed3=0;
        delay_ms(200);
        break;
      }
    }
    HAL_UART_Transmit(&huart3, "a", 1, HAL_MAX_DELAY);
    delay_ms(200);
    HAL_TIM_Base_Stop_IT(&htim3);
    xuanzhuan(1, 0);
    HAL_TIM_Base_Start_IT(&htim3);
    delay_ms(200);
    Base_speed1=Base_speed4=-80;
    Base_speed2=Base_speed3=-80;
    x = 0;
    HAL_UART_Transmit(&huart3, "y", 1, HAL_MAX_DELAY);

    delay_ms(20);
    while (1)
    {
      delay_ms(20);
      if (x != 0)
      {
        while (1)
        {
          delay_ms(20);
          Base_speed1=Base_speed4=-10;
          Base_speed2=Base_speed3=-10;
          Flag = 4;
          if (x > 130)
          {
            break;
          }

        }
        Base_speed1=Base_speed4=0;
        Base_speed2=Base_speed3=0;
        HAL_UART_Transmit(&huart3, "a", 1, HAL_MAX_DELAY);
        delay_ms(200);
        break;
      }
    }

    Base_speed1=Base_speed4=0;
    Base_speed2=Base_speed3=0;
    HAL_UART_Transmit(&huart3, "a", 1, HAL_MAX_DELAY);
    delay_ms(20);

  Base_speed1=Base_speed4=-20;
  Base_speed2=Base_speed3=20;
  Flag = 4;
  delay_ms(200);
  Base_speed1=Base_speed4=0;
  Base_speed2=Base_speed3=0;
  delay_ms(100);

  while (1)
  {

    /* USER CODE END WHILE */

  }
}

void SystemClock_Config(void)
{
  RCC_OscInitTypeDef RCC_OscInitStruct = {0};
  RCC_ClkInitTypeDef RCC_ClkInitStruct = {0};

  /** Configure the main internal regulator output voltage
  */
  __HAL_RCC_PWR_CLK_ENABLE();
  __HAL_PWR_VOLTAGESCALING_CONFIG(PWR_REGULATOR_VOLTAGE_SCALE1);

  /** Initializes the RCC Oscillators according to the specified parameters
  * in the RCC_OscInitTypeDef structure.
  */
  RCC_OscInitStruct.OscillatorType = RCC_OSCILLATORTYPE_HSI;
  RCC_OscInitStruct.HSIState = RCC_HSI_ON;
  RCC_OscInitStruct.HSICalibrationValue = RCC_HSICALIBRATION_DEFAULT;
  RCC_OscInitStruct.PLL.PLLState = RCC_PLL_ON;
  RCC_OscInitStruct.PLL.PLLSource = RCC_PLLSOURCE_HSI;
  RCC_OscInitStruct.PLL.PLLM = 8;
  RCC_OscInitStruct.PLL.PLLN = 168;
  RCC_OscInitStruct.PLL.PLLP = RCC_PLLP_DIV2;
  RCC_OscInitStruct.PLL.PLLQ = 4;
  if (HAL_RCC_OscConfig(&RCC_OscInitStruct) != HAL_OK)
  {
    Error_Handler();
  }

  /** Initializes the CPU, AHB and APB buses clocks
  */
  RCC_ClkInitStruct.ClockType = RCC_CLOCKTYPE_HCLK|RCC_CLOCKTYPE_SYSCLK
                              |RCC_CLOCKTYPE_PCLK1|RCC_CLOCKTYPE_PCLK2;
  RCC_ClkInitStruct.SYSCLKSource = RCC_SYSCLKSOURCE_PLLCLK;
  RCC_ClkInitStruct.AHBCLKDivider = RCC_SYSCLK_DIV1;
  RCC_ClkInitStruct.APB1CLKDivider = RCC_HCLK_DIV4;
  RCC_ClkInitStruct.APB2CLKDivider = RCC_HCLK_DIV2;

  if (HAL_RCC_ClockConfig(&RCC_ClkInitStruct, FLASH_LATENCY_5) != HAL_OK)
  {
    Error_Handler();
  }
}

void Error_Handler(void)
{
  __disable_irq();
  while (1)
  {
  }
}
